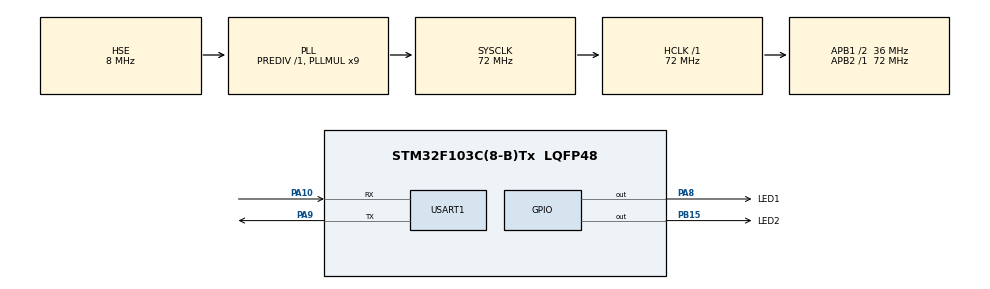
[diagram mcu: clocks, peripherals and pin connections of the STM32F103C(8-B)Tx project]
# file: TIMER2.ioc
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Mcu.Family=STM32F1
Mcu.Name=STM32F103C(8-B)Tx
Mcu.Package=LQFP48
NVIC.PriorityGroup=NVIC_PRIORITYGROUP_4
NVIC.TIM1_UP_IRQn=true\:0\:0\:false\:false\:true\:true\:true\:true
NVIC.TIM2_IRQn=true\:0\:0\:false\:false\:true\:true\:true\:true
PA10.Mode=Asynchronous
PA10.Signal=USART1_RX
PA8.GPIO_Label=LED1
PA8.Signal=GPIO_Output
PA9.Mode=Asynchronous
PA9.Signal=USART1_TX
PB15.GPIO_Label=LED2
PB15.Signal=GPIO_Output
PD0-OSC_IN.Mode=HSE-External-Oscillator
PD0-OSC_IN.Signal=RCC_OSC_IN
PD1-OSC_OUT.Mode=HSE-External-Oscillator
PD1-OSC_OUT.Signal=RCC_OSC_OUT
ProjectManager.HeapSize=0x200
ProjectManager.StackSize=0x400
ProjectManager.TargetToolchain=STM32CubeIDE
RCC.AHBFreq_Value=72000000
RCC.APB1CLKDivider=RCC_HCLK_DIV2
RCC.APB1Freq_Value=36000000
RCC.APB1TimFreq_Value=72000000
RCC.APB2Freq_Value=72000000
RCC.APB2TimFreq_Value=72000000
RCC.HCLKFreq_Value=72000000
RCC.PLLMUL=RCC_PLL_MUL9
RCC.PLLSourceVirtual=RCC_PLLSOURCE_HSE
RCC.SYSCLKFreq_VALUE=72000000
RCC.SYSCLKSource=RCC_SYSCLKSOURCE_PLLCLK
RCC.USBFreq_Value=72000000
TIM1.Period=7200-1
TIM1.Prescaler=5000-1
TIM2.Period=7200-1
TIM2.Prescaler=5000-1
USART1.VirtualMode=VM_ASYNC
VP_SYS_VS_ND.Mode=No_Debug
VP_TIM1_VS_ClockSourceINT.Mode=Internal
VP_TIM2_VS_ClockSourceINT.Mode=Internal
VP_TIM2_VS_ClockSourceITR.Mode=TriggerSource_ITR0
board=custom

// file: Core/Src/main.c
/* USER CODE BEGIN Header */
/**
  ******************************************************************************
  * @file           : main.c
  * @brief          : Main program body
  ******************************************************************************
  * @attention
  *
  * Copyright (c) 2026 STMicroelectronics.
  * All rights reserved.
  *
  * This software is licensed under terms that can be found in the LICENSE file
  * in the root directory of this software component.
  * If no LICENSE file comes with this software, it is provided AS-IS.
  *
  ******************************************************************************
  */
/* USER CODE END Header */
#include "main.h"

/* USER CODE BEGIN Includes */
#include <stdio.h>
#include <stdlib.h>
#include <string.h>
/* USER CODE END Includes */

TIM_HandleTypeDef htim1;
TIM_HandleTypeDef htim2;

UART_HandleTypeDef huart1;

/* USER CODE BEGIN PV */
int hh,mm,ss;

/* USER CODE END PV */

void SystemClock_Config(void);
static void MX_GPIO_Init(void);
static void MX_TIM1_Init(void);
static void MX_TIM2_Init(void);
static void MX_USART1_UART_Init(void);

/* USER CODE BEGIN 0 */
   void HAL_TIM_PeriodElapsedCallback(TIM_HandleTypeDef *htim)
   {
	   uint8_t buf[20];
	    if (htim->Instance==TIM1)
     	{
	     	HAL_GPIO_TogglePin(LED1_GPIO_Port, LED1_Pin);

	     	HAL_GPIO_TogglePin(LED2_GPIO_Port, LED2_Pin);
	    }
	    if (htim->Instance==TIM2)
	    	   	   {
	    	   		   ss++;
	    	   		   if(ss>59)
	    	   		     {ss=0;
	    	   		      mm++;
	    	   		      if(mm>59){
	    	   			     mm=0;
	    	   			     hh++;
	    	   		      }
	    	   		   }
	               sprintf(buf,"%02d,%02d,%02d\n",hh,mm,ss);
	               HAL_UART_Transmit(&huart1,buf,strlen(buf),500);

	    	   	   }
   }
/* USER CODE END 0 */

int main(void)
{

  /* MCU Configuration--------------------------------------------------------*/

  /* Reset of all peripherals, Initializes the Flash interface and the Systick. */
  HAL_Init();

  /* Configure the system clock */
  SystemClock_Config();

  /* Initialize all configured peripherals */
  MX_GPIO_Init();
  MX_TIM1_Init();
  MX_TIM2_Init();
  MX_USART1_UART_Init();
  /* USER CODE BEGIN 2 */
  HAL_TIM_Base_Start_IT(&htim1);
  HAL_TIM_Base_Start_IT(&htim2);
  /* USER CODE END 2 */

  /* Infinite loop */
  while (1)
  {

    /* USER CODE BEGIN 3 */
   	HAL_GPIO_TogglePin(LED2_GPIO_Port, LED2_Pin);

  }
  /* USER CODE END 3 */
}

void SystemClock_Config(void)
{
  RCC_OscInitTypeDef RCC_OscInitStruct = {0};
  RCC_ClkInitTypeDef RCC_ClkInitStruct = {0};

  /** Initializes the RCC Oscillators according to the specified parameters
  * in the RCC_OscInitTypeDef structure.
  */
  RCC_OscInitStruct.OscillatorType = RCC_OSCILLATORTYPE_HSE;
  RCC_OscInitStruct.HSEState = RCC_HSE_ON;
  RCC_OscInitStruct.HSEPredivValue = RCC_HSE_PREDIV_DIV1;
  RCC_OscInitStruct.HSIState = RCC_HSI_ON;
  RCC_OscInitStruct.PLL.PLLState = RCC_PLL_ON;
  RCC_OscInitStruct.PLL.PLLSource = RCC_PLLSOURCE_HSE;
  RCC_OscInitStruct.PLL.PLLMUL = RCC_PLL_MUL9;
  if (HAL_RCC_OscConfig(&RCC_OscInitStruct) != HAL_OK)
  {
    Error_Handler();
  }

  /** Initializes the CPU, AHB and APB buses clocks
  */
  RCC_ClkInitStruct.ClockType = RCC_CLOCKTYPE_HCLK|RCC_CLOCKTYPE_SYSCLK
                              |RCC_CLOCKTYPE_PCLK1|RCC_CLOCKTYPE_PCLK2;
  RCC_ClkInitStruct.SYSCLKSource = RCC_SYSCLKSOURCE_PLLCLK;
  RCC_ClkInitStruct.AHBCLKDivider = RCC_SYSCLK_DIV1;
  RCC_ClkInitStruct.APB1CLKDivider = RCC_HCLK_DIV2;
  RCC_ClkInitStruct.APB2CLKDivider = RCC_HCLK_DIV1;

  if (HAL_RCC_ClockConfig(&RCC_ClkInitStruct, FLASH_LATENCY_2) != HAL_OK)
  {
    Error_Handler();
  }
}

static void MX_TIM1_Init(void)
{

  TIM_ClockConfigTypeDef sClockSourceConfig = {0};
  TIM_MasterConfigTypeDef sMasterConfig = {0};

  htim1.Instance = TIM1;
  htim1.Init.Prescaler = 5000-1;
  htim1.Init.CounterMode = TIM_COUNTERMODE_UP;
  htim1.Init.Period = 7200-1;
  htim1.Init.ClockDivision = TIM_CLOCKDIVISION_DIV1;
  htim1.Init.RepetitionCounter = 0;
  htim1.Init.AutoReloadPreload = TIM_AUTORELOAD_PRELOAD_DISABLE;
  if (HAL_TIM_Base_Init(&htim1) != HAL_OK)
  {
    Error_Handler();
  }
  sClockSourceConfig.ClockSource = TIM_CLOCKSOURCE_INTERNAL;
  if (HAL_TIM_ConfigClockSource(&htim1, &sClockSourceConfig) != HAL_OK)
  {
    Error_Handler();
  }
  sMasterConfig.MasterOutputTrigger = TIM_TRGO_RESET;
  sMasterConfig.MasterSlaveMode = TIM_MASTERSLAVEMODE_DISABLE;
  if (HAL_TIMEx_MasterConfigSynchronization(&htim1, &sMasterConfig) != HAL_OK)
  {
    Error_Handler();
  }

}

static void MX_TIM2_Init(void)
{

  TIM_ClockConfigTypeDef sClockSourceConfig = {0};
  TIM_SlaveConfigTypeDef sSlaveConfig = {0};
  TIM_MasterConfigTypeDef sMasterConfig = {0};

  htim2.Instance = TIM2;
  htim2.Init.Prescaler = 5000-1;
  htim2.Init.CounterMode = TIM_COUNTERMODE_UP;
  htim2.Init.Period = 7200-1;
  htim2.Init.ClockDivision = TIM_CLOCKDIVISION_DIV1;
  htim2.Init.AutoReloadPreload = TIM_AUTORELOAD_PRELOAD_DISABLE;
  if (HAL_TIM_Base_Init(&htim2) != HAL_OK)
  {
    Error_Handler();
  }
  sClockSourceConfig.ClockSource = TIM_CLOCKSOURCE_INTERNAL;
  if (HAL_TIM_ConfigClockSource(&htim2, &sClockSourceConfig) != HAL_OK)
  {
    Error_Handler();
  }
  sSlaveConfig.SlaveMode = TIM_SLAVEMODE_DISABLE;
  sSlaveConfig.InputTrigger = TIM_TS_ITR0;
  if (HAL_TIM_SlaveConfigSynchro(&htim2, &sSlaveConfig) != HAL_OK)
  {
    Error_Handler();
  }
  sMasterConfig.MasterOutputTrigger = TIM_TRGO_RESET;
  sMasterConfig.MasterSlaveMode = TIM_MASTERSLAVEMODE_DISABLE;
  if (HAL_TIMEx_MasterConfigSynchronization(&htim2, &sMasterConfig) != HAL_OK)
  {
    Error_Handler();
  }

}

static void MX_USART1_UART_Init(void)
{

  huart1.Instance = USART1;
  huart1.Init.BaudRate = 115200;
  huart1.Init.WordLength = UART_WORDLENGTH_8B;
  huart1.Init.StopBits = UART_STOPBITS_1;
  huart1.Init.Parity = UART_PARITY_NONE;
  huart1.Init.Mode = UART_MODE_TX_RX;
  huart1.Init.HwFlowCtl = UART_HWCONTROL_NONE;
  huart1.Init.OverSampling = UART_OVERSAMPLING_16;
  if (HAL_UART_Init(&huart1) != HAL_OK)
  {
    Error_Handler();
  }

}

static void MX_GPIO_Init(void)
{
  GPIO_InitTypeDef GPIO_InitStruct = {0};

  /* GPIO Ports Clock Enable */
  __HAL_RCC_GPIOD_CLK_ENABLE();
  __HAL_RCC_GPIOB_CLK_ENABLE();
  __HAL_RCC_GPIOA_CLK_ENABLE();

  /*Configure GPIO pin Output Level */
  HAL_GPIO_WritePin(LED2_GPIO_Port, LED2_Pin, GPIO_PIN_RESET);

  /*Configure GPIO pin Output Level */
  HAL_GPIO_WritePin(LED1_GPIO_Port, LED1_Pin, GPIO_PIN_RESET);

  /*Configure GPIO pin : LED2_Pin */
  GPIO_InitStruct.Pin = LED2_Pin;
  GPIO_InitStruct.Mode = GPIO_MODE_OUTPUT_PP;
  GPIO_InitStruct.Pull = GPIO_NOPULL;
  GPIO_InitStruct.Speed = GPIO_SPEED_FREQ_LOW;
  HAL_GPIO_Init(LED2_GPIO_Port, &GPIO_InitStruct);

  /*Configure GPIO pin : LED1_Pin */
  GPIO_InitStruct.Pin = LED1_Pin;
  GPIO_InitStruct.Mode = GPIO_MODE_OUTPUT_PP;
  GPIO_InitStruct.Pull = GPIO_NOPULL;
  GPIO_InitStruct.Speed = GPIO_SPEED_FREQ_LOW;
  HAL_GPIO_Init(LED1_GPIO_Port, &GPIO_InitStruct);

}

void Error_Handler(void)
{
  __disable_irq();
  while (1)
  {
  }
}
